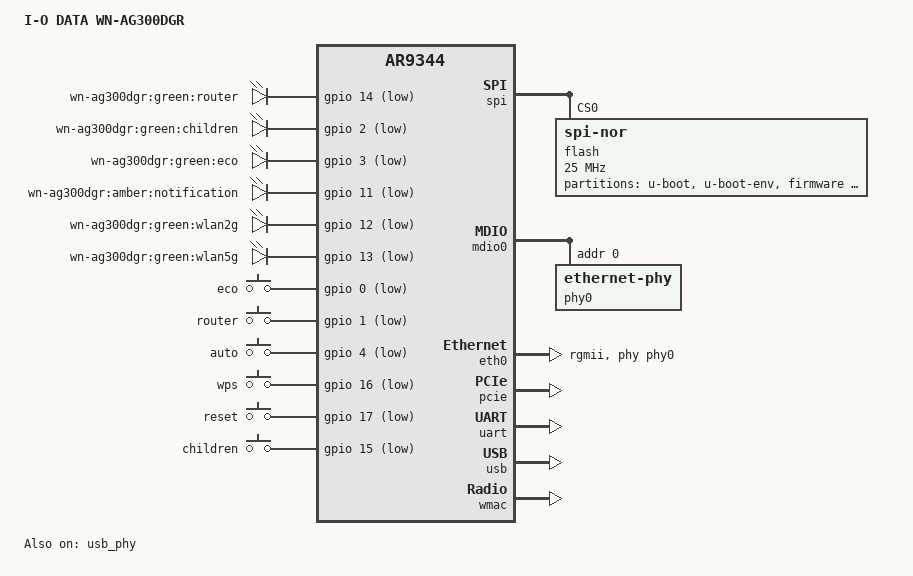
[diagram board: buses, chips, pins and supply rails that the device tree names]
// SPDX-License-Identifier: GPL-2.0-or-later OR MIT
/dts-v1/;

#include <dt-bindings/gpio/gpio.h>
#include <dt-bindings/input/input.h>

#include "ar9344.dtsi"

/ {
	compatible = "iodata,wn-ag300dgr", "qca,ar9344";
	model = "I-O DATA WN-AG300DGR";

	aliases {
		led-boot = &led_router;
		led-failsafe = &led_router;
		led-running = &led_router;
		led-upgrade = &led_router;
	};

	leds {
		compatible = "gpio-leds";

		led_router: router {
			label = "wn-ag300dgr:green:router";
			gpios = <&gpio 14 GPIO_ACTIVE_LOW>;
			default-state = "on";
		};

		children {
			label = "wn-ag300dgr:green:children";
			gpios = <&gpio 2 GPIO_ACTIVE_LOW>;
		};

		eco {
			label = "wn-ag300dgr:green:eco";
			gpios = <&gpio 3 GPIO_ACTIVE_LOW>;
		};

		notification {
			label = "wn-ag300dgr:amber:notification";
			gpios = <&gpio 11 GPIO_ACTIVE_LOW>;
		};

		wlan2g {
			label = "wn-ag300dgr:green:wlan2g";
			gpios = <&gpio 12 GPIO_ACTIVE_LOW>;
			linux,default-trigger = "phy0tpt";
		};

		wlan5g {
			label = "wn-ag300dgr:green:wlan5g";
			gpios = <&gpio 13 GPIO_ACTIVE_LOW>;
			linux,default-trigger = "phy1tpt";
		};
	};

	keys {
		compatible = "gpio-keys";

		eco {
			label = "eco";
			gpios = <&gpio 0 GPIO_ACTIVE_LOW>;
			linux,code = <BTN_1>;
			debounce-interval = <60>;
		};

		router {
			label = "router";
			gpios = <&gpio 1 GPIO_ACTIVE_LOW>;
			linux,code = <BTN_0>;
			linux,input-type = <EV_SW>;
			debounce-interval = <60>;
		};

		auto {
			label = "auto";
			gpios = <&gpio 4 GPIO_ACTIVE_LOW>;
			linux,code = <BTN_0>;
			linux,input-type = <EV_SW>;
			debounce-interval = <60>;
		};

		wps {
			label = "wps";
			gpios = <&gpio 16 GPIO_ACTIVE_LOW>;
			linux,code = <KEY_WPS_BUTTON>;
			debounce-interval = <60>;
		};

		reset {
			label = "reset";
			gpios = <&gpio 17 GPIO_ACTIVE_LOW>;
			linux,code = <KEY_RESTART>;
			debounce-interval = <60>;
		};

		children {
			label = "children";
			gpios = <&gpio 15 GPIO_ACTIVE_LOW>;
			linux,code = <BTN_1>;
			debounce-interval = <60>;
		};
	};
};

&ref {
	clock-frequency = <25000000>;
};

&spi {
	status = "okay";

	num-cs = <1>;

	flash@0 {
		compatible = "jedec,spi-nor";
		reg = <0>;
		spi-max-frequency = <25000000>;

		partitions {
			compatible = "fixed-partitions";
			#address-cells = <1>;
			#size-cells = <1>;

			partition@0 {
				label = "u-boot";
				reg = <0x000000 0x030000>;
				read-only;
			};

			partition@30000 {
				label = "u-boot-env";
				reg = <0x030000 0x010000>;
				read-only;
			};

			partition@40000 {
				compatible = "denx,uimage";
				label = "firmware";
				reg = <0x040000 0xf10000>;
			};

			partition@f50000 {
				label = "manufacture";
				reg = <0xf50000 0x40000>;
				read-only;
			};

			partition@f90000 {
				label = "backup";
				reg = <0xf90000 0x10000>;
				read-only;
			};

			partition@fa0000 {
				label = "storage";
				reg = <0xfa0000 0x50000>;
				read-only;
			};

			partition@ff0000 {
				label = "art";
				reg = <0xff0000 0x010000>;
				read-only;
			};
		};
	};
};

&mdio0 {
	status = "okay";

	phy0: ethernet-phy@0 {
		reg = <0>;
		phy-mode = "rgmii";

		qca,ar8327-initvals = <
			0x04 0x07a00000 /* PORT0 PAD MODE CTRL */
			0x7c 0x000000fe /* PORT0_STATUS */
		>;
	};
};

&eth0 {
	status = "okay";

	pll-data = <0x06000000 0x00000101 0x00001616>;

	phy-mode = "rgmii";
	phy-handle = <&phy0>;

	gmac-config {
		device = <&gmac>;
		rgmii-gmac0 = <1>;
	};
};

&pcie {
	status = "okay";
};

&uart {
	status = "okay";
};

&usb {
	status = "okay";
};

&usb_phy {
	status = "okay";
};

&wmac {
	status = "okay";

	qca,no-eeprom;
};
